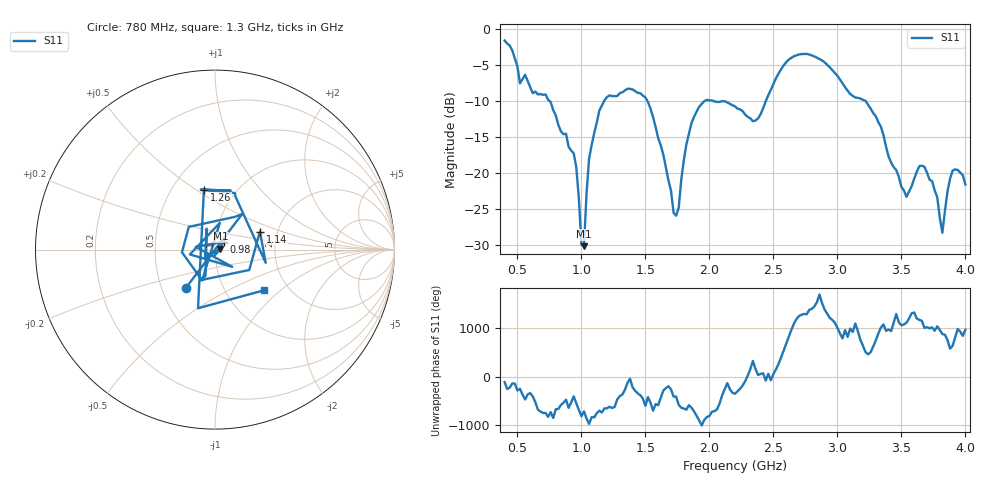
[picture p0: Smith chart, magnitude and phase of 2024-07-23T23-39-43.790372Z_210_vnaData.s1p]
!Created with skrf (http://scikit-rf.org).
# Hz S RI R 50.0
!freq ReS11 ImS11
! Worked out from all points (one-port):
!   181 points, 400 MHz to 4 GHz, reference 50 ohm
!   lowest |S11| = -30.2 dB at 1.02 GHz (marker M1), VSWR 1.06, Z = 53.1 + j0.465 ohm
!   |S11| at or under -10 dB: 747 MHz to 1.179 GHz (432.2 MHz wide, 44.9 % of centre); 1.514 GHz to 1.97 GHz (456.1 MHz wide, 26.2 % of centre); 3.214 GHz to end of sweep (the widest 3 of 4)
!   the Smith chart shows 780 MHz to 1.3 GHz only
!   S11 on the Smith chart (normalised r, x): 780 MHz: 0.66, -0.31; 980 MHz: 1.10, +0.10; 1.14 GHz: 1.62, +0.35; 1.26 GHz: 0.71, +0.54; 1.3 GHz: 1.51, -0.78
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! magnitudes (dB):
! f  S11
! 400 MHz  -1.7
! 520 MHz  -7.6
! 780 MHz  -11.3
! 860 MHz  -14.7
! 940 MHz  -17.3
! 980 MHz  -23.6
! 1 GHz  -30.0
! 1.02 GHz  -30.2
! 1.06 GHz  -18.1
! 1.14 GHz  -11.4
! 1.26 GHz  -9.4
! 1.3 GHz  -9.0
! 1.52 GHz  -10.2
! 1.72 GHz  -25.6
! 1.76 GHz  -24.9
! 1.82 GHz  -16.1
! 1.92 GHz  -10.9
! 2.2 GHz  -10.8
! 2.38 GHz  -12.5
! 2.66 GHz  -3.8
! 3.1 GHz  -9.1
! 3.3 GHz  -12.2
! 3.56 GHz  -22.7
! 3.68 GHz  -19.2
! 3.78 GHz  -23.4
! 3.82 GHz  -28.4
! 3.9 GHz  -19.7
! 4 GHz  -21.7
